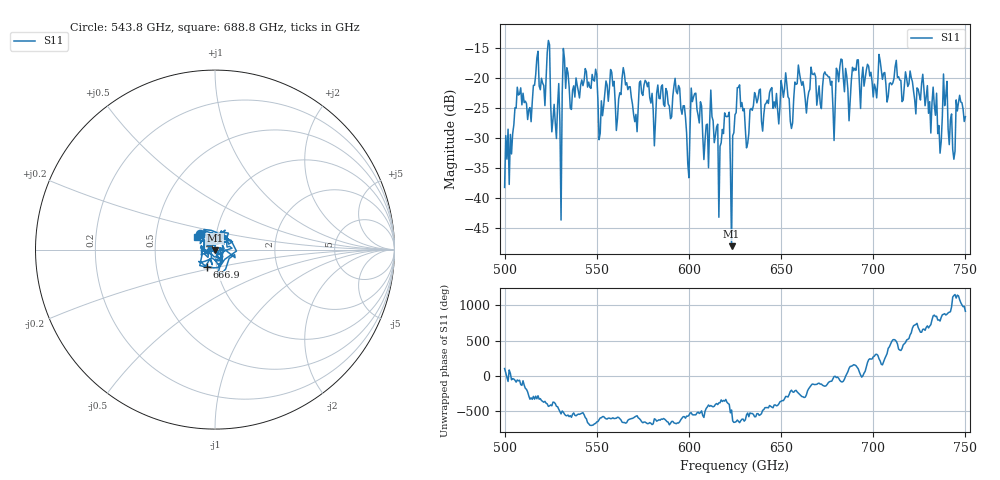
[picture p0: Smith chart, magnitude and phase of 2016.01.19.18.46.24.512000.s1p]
!Created with skrf (http://scikit-rf.org).
# GHz S RI R 50.0
!freq ReS11 ImS11
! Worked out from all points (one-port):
!   401 points, 500 GHz to 750 GHz, reference 50 ohm
!   lowest |S11| = -48.1 dB at 623.1 GHz (marker M1), VSWR 1.01, Z = 49.8 - j0.34 ohm
!   |S11| at or under -10 dB: start of sweep to end of sweep
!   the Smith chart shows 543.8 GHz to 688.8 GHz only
!   S11 on the Smith chart (normalised r, x): 543.8 GHz: 0.83, +0.15; 666.9 GHz: 0.90, -0.18; 688.8 GHz: 0.81, +0.11
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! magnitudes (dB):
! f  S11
! 500 GHz  -38.3
! 507.5 GHz  -22.9
! 513.8 GHz  -25.0
! 516.9 GHz  -19.5
! 523.8 GHz  -13.8
! 529.4 GHz  -21.0
! 531.2 GHz  -22.7
! 533.1 GHz  -21.8
! 543.8 GHz  -18.5
! 552.5 GHz  -23.8
! 558.1 GHz  -19.1
! 562.5 GHz  -22.5
! 593.8 GHz  -22.7
! 599.4 GHz  -34.3
! 602.5 GHz  -23.2
! 617.5 GHz  -30.8
! 620.6 GHz  -26.5
! 623.1 GHz  -48.1
! 625 GHz  -26.1
! 656.2 GHz  -27.5
! 666.9 GHz  -19.4
! 687.5 GHz  -23.9
! 688.8 GHz  -18.2
! 718.8 GHz  -21.4
! 736.2 GHz  -32.6
! 738.8 GHz  -24.6
! 743.1 GHz  -32.0
! 750 GHz  -26.5
